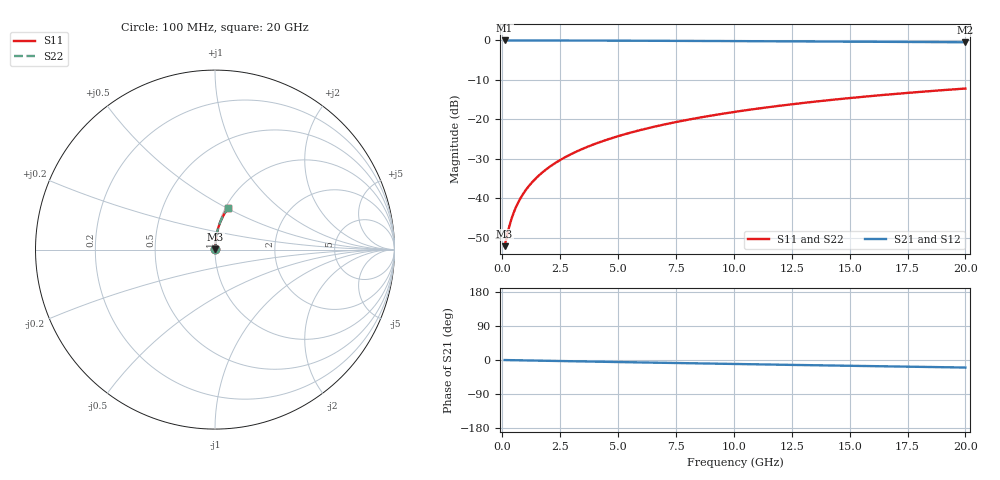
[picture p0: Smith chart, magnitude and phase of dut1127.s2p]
! Touchstone file exported from HFSS 2024.1.0
!  File:  C:/UserFiles/LocalFiles/RDL_TSV_Batchsim/temp_RDL_top_1127_1780047272.aedt
!  Generated:  05:36:51 PM May 29, 2026
!  Design:  RDL_top
!  Project:  temp_RDL_top_1127_1780047272
!  Setup:  Setup1
!  Solution:  Sweep
! Variables:
!  dtsv = 10.80580581um
!  hbump = 3um
!  htsv = 93.62um
!  ldown = 100um
!  lrdl = 227.12um
!  p = 40
!  p1 = 45.56um
!  rhole = 1um
!  t = 450um
!  tdown = 3.915915916um
!  trdl = 2.94um
!  wdown = 15.38538539um
!  wrdl = 14.32um
# GHz S MA R 50.000000
! Terminal data exported
! Port[1] = Box2_T1
! Port[2] = Box2_T2
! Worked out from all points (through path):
!   200 points, 100 MHz to 20 GHz, reference 50 ohm
!   highest |S21| = -0.02 dB at 100 MHz (marker M1); lowest = -0.5 dB at 20 GHz (marker M2)
!   group delay of S21, straight-line fit = 2.76 ps
!   lowest |S11| = -52.2 dB at 100 MHz (marker M3), VSWR 1.00, Z = 50.2 + j0.128 ohm
!   |S11| at or under -10 dB: start of sweep to end of sweep
!   |S22| runs from -52.2 to -12.2 dB; largest |S21 - S12| = 4.2e-15
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0.1  0.002465 31.1  0.9979 -0.1  0.9979 -0.1  0.002465 31.1
! Gamma 0 0 0 0
! Port Impedance 50 0 50 0
0.2  0.003319 49.8  0.9979 -0.2  0.9979 -0.2  0.003319 49.8
0.3  0.004371 60.0  0.9978 -0.3  0.9978 -0.3  0.004371 60.0
0.4  0.005496 65.9  0.9977 -0.4  0.9977 -0.4  0.005496 65.9
0.5  0.00665 69.8  0.9977 -0.6  0.9977 -0.6  0.00665 69.8
0.6  0.007815 72.5  0.9976 -0.7  0.9976 -0.7  0.007815 72.5
0.8  0.01016 76.1  0.9975 -0.9  0.9975 -0.9  0.01016 76.1
1.1  0.0137 79.1  0.9973 -1.2  0.9973 -1.2  0.0137 79.1
1.5  0.01845 81.4  0.997 -1.6  0.997 -1.6  0.01845 81.4
1.8  0.02204 82.5  0.9967 -2.0  0.9967 -2.0  0.02204 82.5
2.1  0.02564 83.2  0.9965 -2.3  0.9965 -2.3  0.02564 83.2
2.7  0.03288 84.0  0.9958 -2.9  0.9958 -2.9  0.03288 84.0
3.5  0.04261 84.5  0.9947 -3.8  0.9947 -3.8  0.04261 84.5
4.2  0.05119 84.6  0.9936 -4.6  0.9936 -4.6  0.05119 84.6
5  0.06105 84.4  0.9921 -5.4  0.9921 -5.4  0.06105 84.4
5.9  0.07222 84.1  0.9902 -6.3  0.9902 -6.3  0.07222 84.1
6.8  0.08345 83.7  0.9881 -7.3  0.9881 -7.3  0.08345 83.7
8.3  0.1023 82.7  0.9842 -8.8  0.9842 -8.8  0.1023 82.7
10.1  0.1249 81.3  0.9792 -10.6  0.9792 -10.6  0.1249 81.3
13.4  0.1661 78.4  0.9691 -13.8  0.9691 -13.8  0.1661 78.4
16.7  0.2064 75.4  0.9582 -16.9  0.9582 -16.9  0.2064 75.4
20  0.2453 72.3  0.9465 -19.9  0.9465 -19.9  0.2454 72.3
